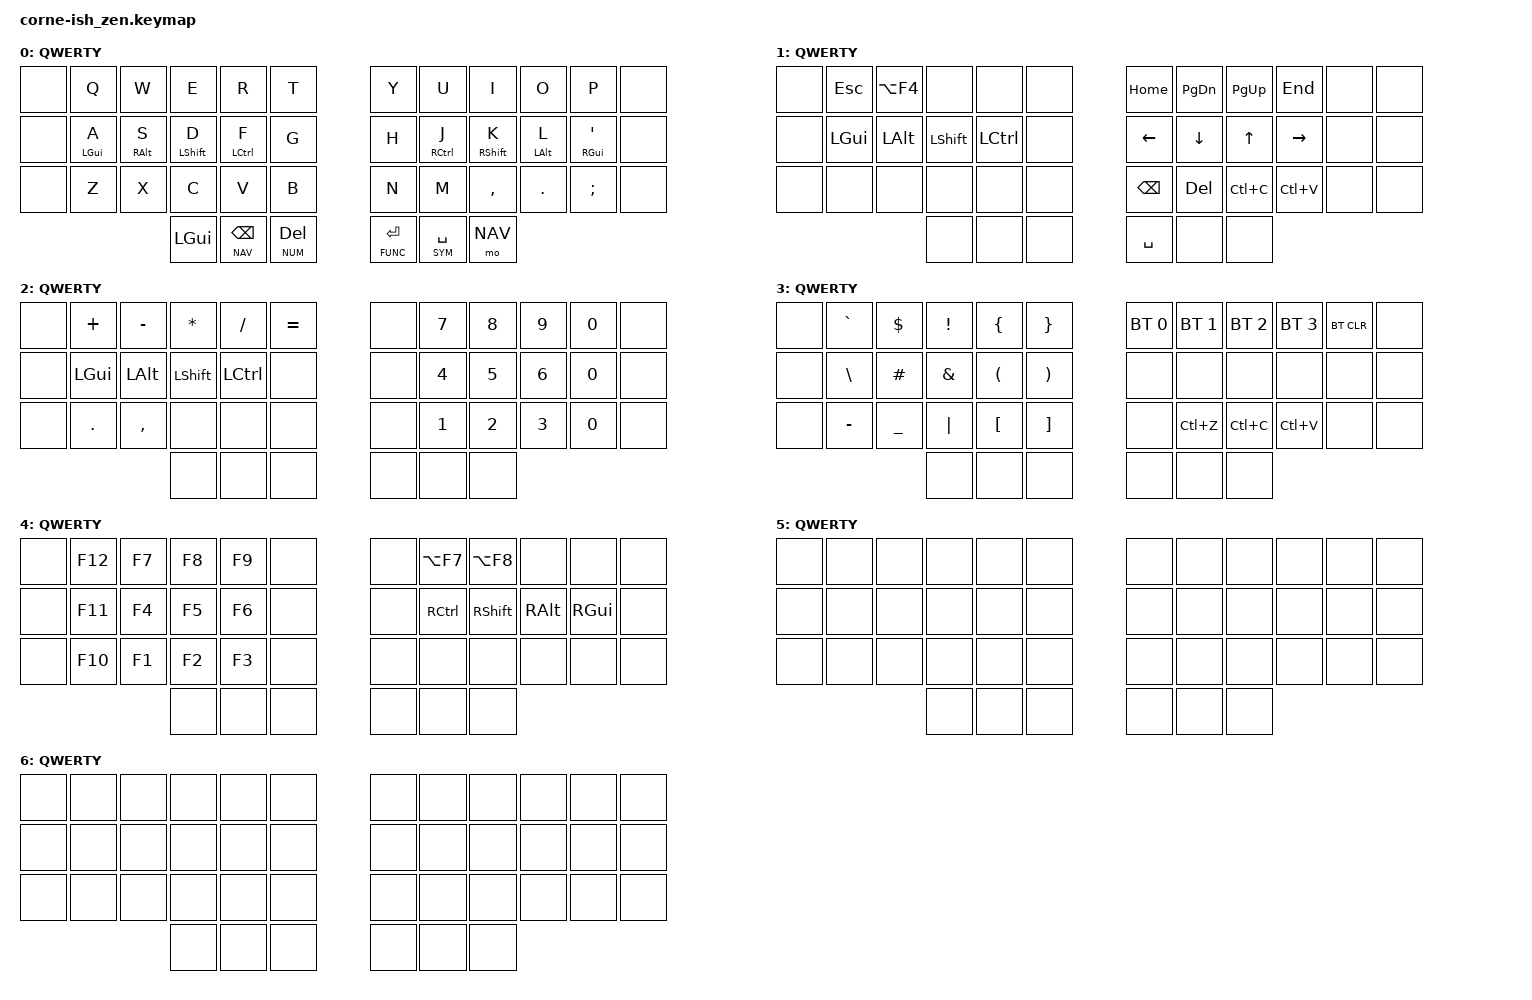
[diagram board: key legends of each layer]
/*
*
* Copyright (c) 2021 Darryl deHaan
* SPDX-License-Identifier: MIT
*
*/

#include <behaviors.dtsi>
#include <dt-bindings/zmk/keys.h>
#include <dt-bindings/zmk/bt.h>

/ {
        chosen {
                zmk,matrix_transform = &default_transform;
                // zmk,matrix_transform = &five_column_transform;
        };
};

#define DEFAULT 0
#define NAV 1
#define NUM 2
#define SYM 3
#define FUNC 4
#define WIN 5
#define EMP 6

#define COMBO(NAME, BINDINGS, KEYPOS) \
        combo_##NAME { \
                timeout-ms = <50>; \
                bindings = <BINDINGS>; \
                key-positions = <KEYPOS>; \
                layers = <0>; \
        };

/ {

        behaviors {
                hm: homerow_mods {
                        compatible = "zmk,behavior-hold-tap";
                        label = "HOMEROW_MODS";
                        #binding-cells = <2>;
                        tapping_term_ms = <125>;
                        flavor = "tap-preferred";
                        bindings = <&kp>, <&kp>;
                };
        };

        combos {
                compatible = "zmk,combos";
		
		COMBO(mother, &kp N0, 10 22 23)
		COMBO(fucking, &kp N0, 10 22 24)
		COMBO(shithead, &kp N0, 10 22 25)
		COMBO(bullshit, &kp N0, 10 22 26)

                COMBO(nocap, &caps_word, 14 21)
			
		COMBO(slash, &kp SLASH, 32 33)
		COMBO(backslash, &kp BSLH, 33 34)
		
		COMBO(esckey2, &kp ESC, 14 15)
		COMBO(esckey, &kp ESC, 3 4)
		COMBO(tabkey, &kp TAB, 15 16)
		
		COMBO(minus, &kp MINUS, 25 26)
		COMBO(under, &kp UNDER, 26 27)
		COMBO(tilde, &kp TILDE, 27 28)
		
	        COMBO(one, &kp N1, 1 13)
		COMBO(two, &kp N2, 2 14)
		COMBO(three, &kp N3, 3 15)
		COMBO(four, &kp N4, 4 16)
		COMBO(five, &kp N5, 5 17)
		
		COMBO(six, &kp N6, 6 18)
		COMBO(seven, &kp N7, 7 19)
		COMBO(eight, &kp N8, 8 20)
		COMBO(nine, &kp N9, 9 21)
		COMBO(zero, &kp N0, 10 22)
        };

        keymap {
                compatible = "zmk,keymap";

                default_layer {
// ---------------------------------------------------------------------------------------------------------------------------------
// |  ___ |  Q  |  W  |  E   |  R   |  T   |                                          |  Y   |  U   |  I  |  O   |  P   | ___ |
// |  ___ |  A  |  S  |  D   |  F   |  G   |                                          |  H   |  J   |  K  |  L   |  '   | ___ |
// |  ___ |  Z  |  X  |  C   |  V   |  B   |                                          |  N   |  M   |  ,  |  .   |  ;   | ___ |
//                    | GUI  | BSP  | DEL  |                                          | ENT  |  SPC | NAV |
                        label = "QWERTY";
                        bindings = <
                                &none   &kp Q        &kp W       &kp E        &kp R         &kp T                                                                      &kp Y          &kp U         &kp I         &kp O        &kp P           &none
                                &none   &hm LGUI A   &hm RALT S  &hm LSHFT D  &hm LCTRL F   &kp G                                                                      &kp H          &hm RCTRL J   &hm RSHFT K   &hm LALT L   &hm RGUI SQT    &none
                                &none   &kp Z        &kp X       &kp C        &kp V         &kp B                                                                      &kp N          &kp M         &kp COMMA     &kp DOT      &kp SEMI        &none
                                                                 &kp LGUI     &lt NAV BSPC  &lt NUM DEL                                                                &lt FUNC ENTER &lt SYM SPACE &mo NAV
                                                >;
		};

                nav_layer {
// ---------------------------------------------------------------------------------------------------------------------------------
// |  ___ | ESC | AF4 | ___  | ___  | ___  |                                           | HME  | DWN  | UP  | END  | ___  | ___ |
// |  ___ | WIN | ALT | SFT  | CTL  | ___  |                                           | <-   |  v   |  ^  | ->   | ___  | ___ |
// |  ___ | ___ | ___ | ___  | ___  | ___  | ____ | ____ |              | ____ | ____  | ___  | ___  | ___ | ___  | ___  | ___ |
//                    | ___  |  ___ | ___  | ___  | ____ |              | ____ | ___   |  ___  | ___  | ___ |
                        label = "QWERTY";
                        bindings = <
                                &none   &kp ESC      &kp LA(F4)  &none        &none         &none                                                                  &kp HOME        &kp PG_DN     &kp PG_UP     &kp END      &none           &none
                                &none   &kp LGUI     &kp LALT    &kp LSHFT    &kp LCTRL     &none                                                                  &kp LEFT        &kp DOWN      &kp UP        &kp RIGHT    &none           &none
                                &none   &none        &none       &none        &none         &none                                                                  &kp BSPC        &kp DEL       &kp LC(C)     &kp LC(V)    &none           &none
                                                                 &none        &none         &none                                                                  &kp SPACE       &none         &none
                                                >;
                };

                num_layer {
// ---------------------------------------------------------------------------------------------------------------------------------
// |  ___ |  +  |  -  |  *   |  /   |  =   |                                          | ___  |  7   |  8  |  9   |  0   | ___ |
// |  ___ | WIN | ALT | SFT  | CTL  | ___  |                                          | ___  |  4   |  5  |  6   |  0   | ___ |
// |  ___ |  .  |  ,  | ___  | ___  | ___  |                                          | ___  |  1   |  2  |  3   |  0   | ___ |
//                    | ___  |  ___ | ___  |                                          |  ___  | ___  | ___ |
                        label = "QWERTY";
                        bindings = <
                                &none   &kp PLUS     &kp MINUS   &kp ASTRK    &kp SLASH     &kp EQUAL                                                              &none           &kp N7        &kp N8        &kp N9       &kp N0          &none
                                &none   &kp LGUI     &kp LALT    &kp LSHFT    &kp LCTRL     &none                                                                  &none           &kp N4        &kp N5        &kp N6       &kp N0          &none
                                &none   &kp DOT      &kp COMMA   &none        &none         &none                                                                  &none           &kp N1        &kp N2        &kp N3       &kp N0          &none
                                                                 &none        &none         &none                                                                  &none           &none         &none
                                                >;
		};

                sym_layer {
// ---------------------------------------------------------------------------------------------------------------------------------
// |  ___ |  `  |  $  |  !   |  {   |  }   |                                          | ___  | ___  | ___ | ___  | ___  | ___ |
// |  ___ |  \  |  #  |  &   |  (   |  )   |                                          | ___  | ___  | ___ | ___  | ___  | ___ |
// |  ___ |  -  |  _  |  |   |  [   |  ]   |                                          | ___  | ___  | ___ | ___  | ___  | ___ |
//                    | ___  |  ___ | ___  |                                          |  ___  | ___  | ___ |
                        label = "QWERTY";
                        bindings = <
                                &none   &kp GRAVE    &kp DLLR    &kp EXCL     &kp LBRC      &kp RBRC                                                               &bt BT_SEL 0    &bt BT_SEL 1  &bt BT_SEL 2  &bt BT_SEL 3 &bt BT_CLR      &none
                                &none   &kp BSLH     &kp HASH    &kp AMPS     &kp LPAR      &kp RPAR                                                               &none           &none         &none         &none        &none           &none
                                &none   &kp MINUS    &kp UNDER   &kp PIPE     &kp LBKT      &kp RBKT                                                               &none           &kp LC(Z)     &kp LC(C)     &kp LC(V)    &none           &none
                                                                 &none        &none         &none                                                                  &none           &none         &none
                                                >;
		};

                func_layer {
// ---------------------------------------------------------------------------------------------------------------------------------
// |  ___ | F12 |  F7 |  F8  |  F9  | ___  |                                          | ___  | A-F7 | A-F8| ___  | ___  | ___ |
// |  ___ | F11 |  F4 |  F5  |  F6  | ___  |                                          | ___  | WIN  | ALT | SFT  | CTL  | ___ |
// |  ___ | F10 |  F1 |  F2  |  F3  | ___  |                                          | ___  | ___  | ___ | ___  | ___  | ___ |
//                    | ___  |  ___ | ___  |                                          |  ___  | ___  | ___ |
                        label = "QWERTY";
                        bindings = <
                                &none   &kp F12      &kp F7      &kp F8       &kp F9        &none                                                                  &none           &kp LA(F7)    &kp LA(F8)    &none        &none           &none
                                &none   &kp F11      &kp F4      &kp F5       &kp F6        &none                                                                  &none           &kp RCTRL     &kp RSHFT     &kp RALT     &kp RGUI        &none
                                &none   &kp F10      &kp F1      &kp F2       &kp F3        &none                                                                  &none           &none         &none         &none        &none           &none
                                                                 &none        &none         &none                                                                  &none           &none         &none
                                                >;
		};
		
		win_layer {
// ---------------------------------------------------------------------------------------------------------------------------------
// |  ___ | ___ | ___ | ___  | ___  | ___  |                                          | ___  | ___  | ___ | ___  | ___  | ___ |
// |  ___ | ___ | ___ | ___  | ___  | ___  |                                          | ___  | ___  | ___ | ___  | ___  | ___ |
// |  ___ | ___ | ___ | ___  | ___  | ___  |                                          | ___  | ___  | ___ | ___  | ___  | ___ |
//                    | ___  |  ___ | ___  |                                          |  ___  | ___  | ___ |
                        label = "QWERTY";
                        bindings = <
                                &none   &none        &none       &none        &none         &none                                                                  &none           &none         &none         &none        &none           &none
                                &none   &none        &none       &none        &none         &none                                                                  &none           &none         &none         &none        &none           &none
                                &none   &none        &none       &none        &none         &none                                                                  &none           &none         &none         &none        &none           &none
                                                                 &none        &none         &none                                                                  &none           &none         &none
                                                >;
		};

                emp_layer {
// ---------------------------------------------------------------------------------------------------------------------------------
// |  ___ | ___ | ___ | ___  | ___  | ___  |                                          | ___  | ___  | ___ | ___  | ___  | ___ |
// |  ___ | ___ | ___ | ___  | ___  | ___  |                                          | ___  | ___  | ___ | ___  | ___  | ___ |
// |  ___ | ___ | ___ | ___  | ___  | ___  |                                          | ___  | ___  | ___ | ___  | ___  | ___ |
//                    | ___  |  ___ | ___  |                                          |  ___  | ___  | ___ |
                        label = "QWERTY";
                        bindings = <
                                &none   &none        &none       &none        &none         &none                                                                  &none           &none         &none         &none        &none           &none
                                &none   &none        &none       &none        &none         &none                                                                  &none           &none         &none         &none        &none           &none
                                &none   &none        &none       &none        &none         &none                                                                  &none           &none         &none         &none        &none           &none
                                                                 &none        &none         &none                                                                  &none           &none         &none
			>;
		};
        };
};
